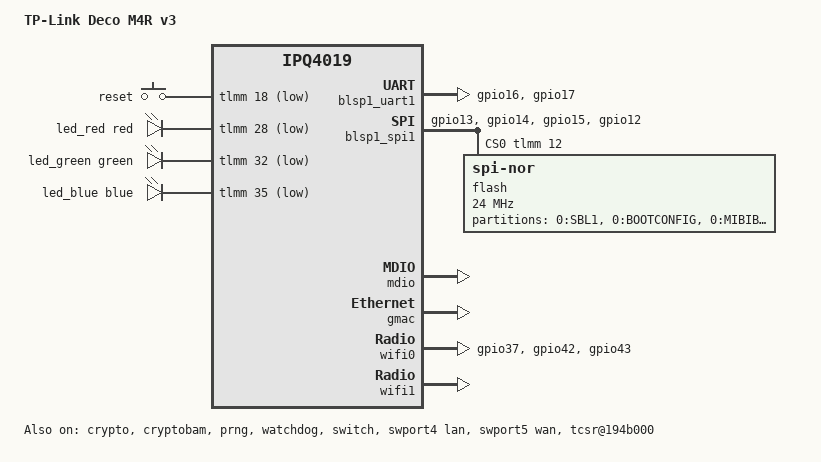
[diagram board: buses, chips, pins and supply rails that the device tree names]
// SPDX-License-Identifier: GPL-2.0-or-later OR MIT

#include "qcom-ipq4019.dtsi"
#include <dt-bindings/gpio/gpio.h>
#include <dt-bindings/input/input.h>
#include <dt-bindings/leds/common.h>
#include <dt-bindings/soc/qcom,tcsr.h>

/ {
	model = "TP-Link Deco M4R v3";
	compatible = "tplink,deco-m4r-v3", "qcom,ipq4019";

	chosen {
		bootargs-append = " root=/dev/mtdblock16";
	};

	aliases {
		label-mac-device = &gmac;
		led-boot = &led_blue;
		led-failsafe = &led_red;
		led-running = &led_green;
		led-upgrade = &led_red;
	};

	keys {
		compatible = "gpio-keys";

		reset {
			label = "reset";
			gpios = <&tlmm 18 GPIO_ACTIVE_LOW>;
			linux,code = <KEY_RESTART>;
		};
	};

	leds {
		compatible = "gpio-leds";

		led_red: red {
			color = <LED_COLOR_ID_RED>;
			function = LED_FUNCTION_FAULT;
			gpios = <&tlmm 28 GPIO_ACTIVE_LOW>;
		};

		led_green: green {
			color = <LED_COLOR_ID_GREEN>;
			function = LED_FUNCTION_STATUS;
			gpios = <&tlmm 32 GPIO_ACTIVE_LOW>;
		};

		led_blue: blue {
			color = <LED_COLOR_ID_BLUE>;
			function = LED_FUNCTION_POWER;
			gpios = <&tlmm 35 GPIO_ACTIVE_LOW>;
		};
	};

	soc {
		tcsr@194b000 {
			compatible = "qcom,tcsr";
			reg = <0x194b000 0x100>;
			qcom,usb-hsphy-mode-select = <TCSR_USB_HSPHY_HOST_MODE>;
			status = "okay";
		};

		tcsr@1949000 {
			compatible = "qcom,tcsr";
			reg = <0x1949000 0x100>;
			qcom,wifi_glb_cfg = <TCSR_WIFI_GLB_CFG>;
		};

		tcsr@1957000 {
			compatible = "qcom,tcsr";
			reg = <0x1957000 0x100>;
			qcom,wifi_noc_memtype_m0_m2 = <TCSR_WIFI_NOC_MEMTYPE_M0_M2>;
		};

		ess_tcsr@1953000 {
			compatible = "qcom,tcsr";
			reg = <0x1953000 0x1000>;
			qcom,ess-interface-select = <TCSR_ESS_PSGMII>;
		};
	};
};

&tlmm {
	serial_0_pins: serial_0_pinmux {
		pinmux {
			pins = "gpio16", "gpio17";
			function = "blsp_uart0";
			bias-disable;
		};
	};

	spi_0_pins: spi_0_pinmux {
		pinmux {
			pins = "gpio13", "gpio14", "gpio15";
			function = "blsp_spi0";
			drive-strength = <12>;
			bias-disable;
		};
		pinmux_cs {
			pins = "gpio12";
			function = "gpio";
			drive-strength = <2>;
			bias-disable;
			output-high;
		};
	};

	wifi_pins: wifi_pinmux {
		pinmux_1 {
			pins = "gpio37";
			function = "gpio";
			drive-strength = <6>;
			bias-pull-up;
			output-high;
		};

		pinmux_2 {
			pins = "gpio42";
			function = "gpio";
			drive-strength = <6>;
			bias-pull-up;
			output-high;
		};

		pinmux_3 {
			pins = "gpio43";
			function = "gpio";
			drive-strength = <6>;
			bias-pull-up;
		};
	};
};

&blsp_dma {
	status = "okay";
};

&blsp1_uart1 {
	pinctrl-0 = <&serial_0_pins>;
	pinctrl-names = "default";
	status = "okay";
};

&blsp1_spi1 {
	pinctrl-0 = <&spi_0_pins>;
	pinctrl-names = "default";
	status = "okay";
	cs-gpios = <&tlmm 12 GPIO_ACTIVE_HIGH>;

	flash@0 {
		#address-cells = <1>;
		#size-cells = <1>;
		reg = <0>;
		compatible = "jedec,spi-nor";
		spi-max-frequency = <24000000>;

		partitions {
			compatible = "fixed-partitions";
			#address-cells = <1>;
			#size-cells = <1>;

			partition@0 {
				label = "0:SBL1";
				reg = <0x00000000 0x00030000>;
				read-only;
			};

			partition@30000 {
				label = "0:BOOTCONFIG";
				reg = <0x00030000 0x00010000>;
			};

			partition@40000 {
				label = "0:MIBIB";
				reg = <0x00040000 0x00010000>;
				read-only;
			};

			partition@50000 {
				label = "0:BOOTCONFIG1";
				reg = <0x00050000 0x00010000>;
			};

			partition@60000 {
				label = "0:QSEE";
				reg = <0x00060000 0x00060000>;
				read-only;
			};

			partition@c0000 {
				label = "0:CDT";
				reg = <0x000c0000 0x00010000>;
				read-only;
			};

			partition@d0000 {
				label = "0:DDRPARAMS";
				reg = <0x000d0000 0x00010000>;
				read-only;
			};

			partition@e0000 {
				label = "0:APPSBLENV";
				reg = <0x000e0000 0x00010000>;
			};

			partition@f0000 {
				label = "0:APPSBL";
				reg = <0x000f0000 0x00080000>;
				read-only;
			};

			partition@170000 {
				label = "0:ART";
				reg = <0x00170000 0x00010000>;
				read-only;

				nvmem-layout {
					compatible = "fixed-layout";
					#address-cells = <1>;
					#size-cells = <1>;

					precal_art_1000: precal@1000 {
						reg = <0x1000 0x2f20>;
					};

					precal_art_5000: precal@5000 {
						reg = <0x5000 0x2f20>;
					};
				};
			};

			partition@180000 {
				label = "OPAQUE";
				reg = <0x00180000 0x000c0000>;
				read-only;

				nvmem-layout {
					compatible = "fixed-layout";
					#address-cells = <1>;
					#size-cells = <1>;

					macaddr_opaque0: macaddr@8 {
						compatible = "mac-base";
						reg = <0x8 0x6>;
						#nvmem-cell-cells = <1>;
					};
				};
			};

			partition@240000 {
				label = "0:HLOS";
				reg = <0x00240000 0x00320000>;
				read-only;
			};

			partition@560000 {
				label = "0:rootfs";
				reg = <0x00560000 0x00a40000>;
				read-only;
			};

			partition@fa0000 {
				label = "0:APPSBL_1";
				reg = <0x00fa0000 0x00080000>;
				read-only;
			};

			partition@1020000 {
				label = "firmware";
				compatible = "denx,fit";
				reg = <0x01020000 0x00fe0000>;
			};
		};
	};
};

&crypto {
	status = "okay";
};

&cryptobam {
	status = "okay";
};

&prng {
	status = "okay";
};

&usb2 {
	status = "disabled";
};

&usb2_hs_phy {
	status = "disabled";
};

&usb3 {
	status = "disabled";
};

&usb3_hs_phy {
	status = "disabled";
};

&usb3_ss_phy {
	status = "disabled";
};

&mdio {
	status = "okay";
};

&watchdog {
	status = "okay";
};

&gmac {
	status = "okay";

	nvmem-cell-names = "mac-address";
	nvmem-cells = <&macaddr_opaque0 0>;
};

&switch {
	status = "okay";
};

&swport4 {
	status = "okay";
	label = "lan";
};

&swport5 {
	status = "okay";
	label = "wan";

	nvmem-cell-names = "mac-address";
	nvmem-cells = <&macaddr_opaque0 1>;
};

&wifi0 {
	pinctrl-0 = <&wifi_pins>;
	pinctrl-names = "default";
	status = "okay";
	nvmem-cell-names = "pre-calibration", "mac-address";
	nvmem-cells = <&precal_art_1000>, <&macaddr_opaque0 2>;
	qcom,ath10k-calibration-variant = "TP-Link-Deco-M4R-v3";
};

&wifi1 {
	status = "okay";
	nvmem-cell-names = "pre-calibration", "mac-address";
	nvmem-cells = <&precal_art_5000>, <&macaddr_opaque0 3>;
	qcom,ath10k-calibration-variant = "TP-Link-Deco-M4R-v3";
};
